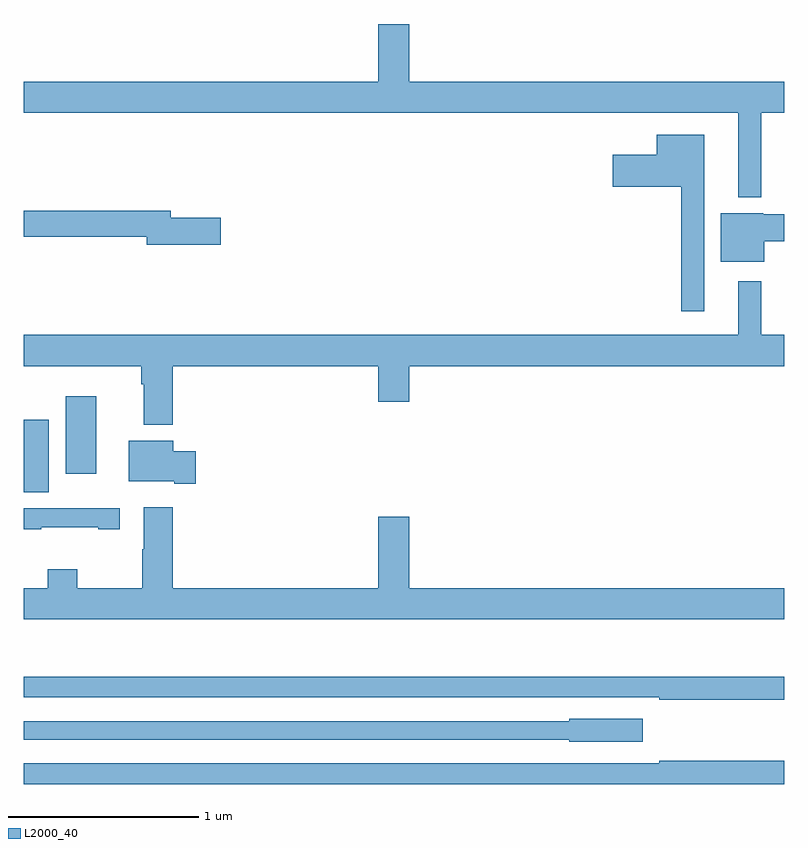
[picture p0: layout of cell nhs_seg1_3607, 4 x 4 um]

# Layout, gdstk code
import gdstk
lib = gdstk.Library(unit=1e-6, precision=1e-09)
def R(c, l, rs):  # rectangles x0, y0, x1, y1
    for r in rs: c.add(gdstk.rectangle(r[:2], r[2:], *l))
def P(c, l, *ps):  # polygons
    for p in ps: c.add(gdstk.Polygon(p, *l))
L2000_40 = (2000, 40)

nhs_seg1_3607 = lib.new_cell('nhs_seg1_3607')
R(nhs_seg1_3607, L2000_40, [(307,549.736,307.132,550.117), (307.22,549.834,307.381,550.24)])
P(nhs_seg1_3607, L2000_40, [(310.879,551.732),(311,551.732),(311,551.896),(309.028,551.896),(309.028,552.199),(308.864,552.199),(308.864,551.896),(307,551.896),(307,551.732),(310.757,551.732),(310.757,551.288),(310.879,551.288)],
  [(310.579,551.617),(310.328,551.617),(310.328,551.512),(310.098,551.512),(310.098,551.342),(310.458,551.342),(310.458,550.689),(310.579,550.689)],
  [(308.035,551.18),(307.774,551.18),(307.774,551.216),(307,551.216),(307,551.08),(307.646,551.08),(307.646,551.038),(308.035,551.038)],
  [(310.894,551.056),(311,551.056),(311,551.198),(310.89,551.198),(310.89,551.203),(310.667,551.203),(310.667,550.949),(310.894,550.949)],
  [(307.784,550.4),(308.864,550.4),(308.864,550.212),(309.028,550.212),(309.028,550.4),(311,550.4),(311,550.564),(310.879,550.564),(310.879,550.846),(310.757,550.846),(310.757,550.564),(307,550.564),(307,550.4),(307.619,550.4),(307.619,550.304),(307.631,550.304),(307.631,550.091),(307.784,550.091)],
  [(307.906,549.952),(307.786,549.952),(307.786,550.006),(307.553,550.006),(307.553,549.794),(307.793,549.794),(307.793,549.782),(307.906,549.782)],
  [(311,549.232),(309.028,549.232),(309.028,549.607),(308.864,549.607),(308.864,549.232),(307.784,549.232),(307.784,549.658),(307.631,549.658),(307.631,549.437),(307.624,549.437),(307.624,549.232),(307.281,549.232),(307.281,549.331),(307.126,549.331),(307.126,549.232),(307,549.232),(307,549.068),(311,549.068)],
  [(307.091,549.553),(307.391,549.553),(307.391,549.543),(307.504,549.543),(307.504,549.653),(307.228,549.653),(307.228,549.651),(307,549.651),(307,549.543),(307.091,549.543)],
  [(311,548.767),(307,548.767),(307,548.658),(310.342,548.658),(310.342,548.646),(311,548.646)],
  [(310.255,548.545),(309.87,548.545),(309.87,548.532),(307,548.532),(307,548.436),(309.87,548.436),(309.87,548.423),(310.255,548.423)],
  [(311,548.323),(310.342,548.323),(310.342,548.31),(307,548.31),(307,548.202),(311,548.202)])

lib.write_gds('nhs_seg1_3607.gds')
